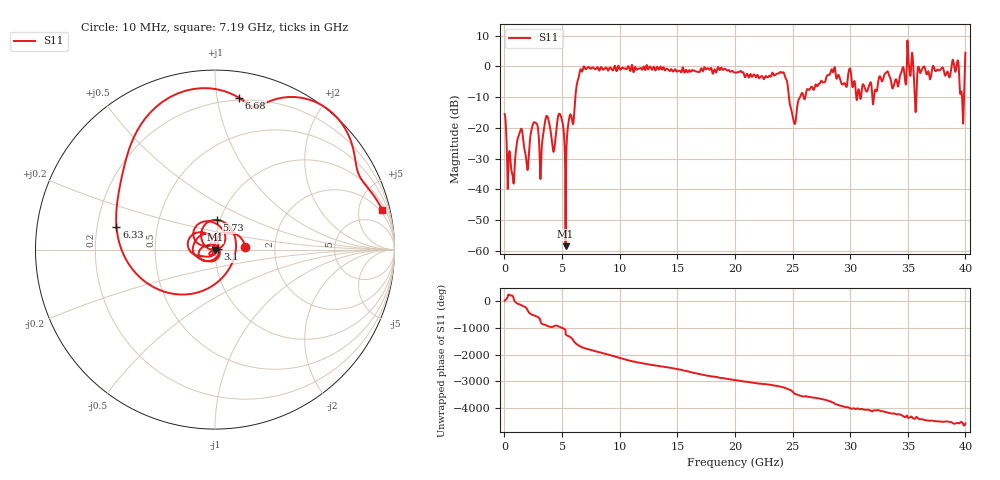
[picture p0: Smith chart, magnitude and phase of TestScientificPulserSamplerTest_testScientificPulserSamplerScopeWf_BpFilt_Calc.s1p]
# MHz MA S R 50.0
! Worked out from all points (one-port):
!   4000 points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, 10 MHz to 40 GHz, reference 50 ohm
!   lowest |S11| = -58.6 dB at 5.3 GHz (marker M1), VSWR 1.00, Z = 50 - j0.118 ohm
!   |S11| at or under -10 dB: start of sweep to 6.149 GHz; 24.69 GHz to 25.65 GHz (962 MHz wide, 3.82 % of centre); 39.70916 GHz to 39.88073 GHz (171.6 MHz wide, 0.431 % of centre) (the widest 3 of 8)
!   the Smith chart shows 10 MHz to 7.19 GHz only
!   S11 on the Smith chart (normalised r, x): 10 MHz: 1.40, +0.04; 3.1 GHz: 1.03, +0.01; 5.73 GHz: 0.97, +0.33; 6.33 GHz: 0.28, +0.10; 6.68 GHz: 0.18, +1.16; 7.19 GHz: 1.57, +8.38
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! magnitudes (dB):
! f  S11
! 10 MHz  -15.5
! 700 MHz  -35.5
! 1.37 GHz  -20.9
! 1.95 GHz  -32.6
! 2.69 GHz  -18.3
! 3.1 GHz  -35.4
! 3.65 GHz  -16.1
! 4.25 GHz  -27.8
! 5.01 GHz  -17.8
! 5.3 GHz  -58.6
! 5.73 GHz  -15.6
! 6.33 GHz  -5.0
! 6.68 GHz  -1.4
! 7.19 GHz  -0.4
! 10.01 GHz  -1.0
! 15.01 GHz  -1.6
! 20.01 GHz  -2.0
! 24.12 GHz  -2.0
! 25.01 GHz  -16.4
! 28.49 GHz  -1.9
! 30.01 GHz  -0.8
! 32.1 GHz  -8.7
! 35.01 GHz  5.2
! 35.69 GHz  -14.8
! 36.05 GHz  -1.9
! 39.23 GHz  0.1
! 39.71 GHz  -10.0
! 40 GHz  4.4
